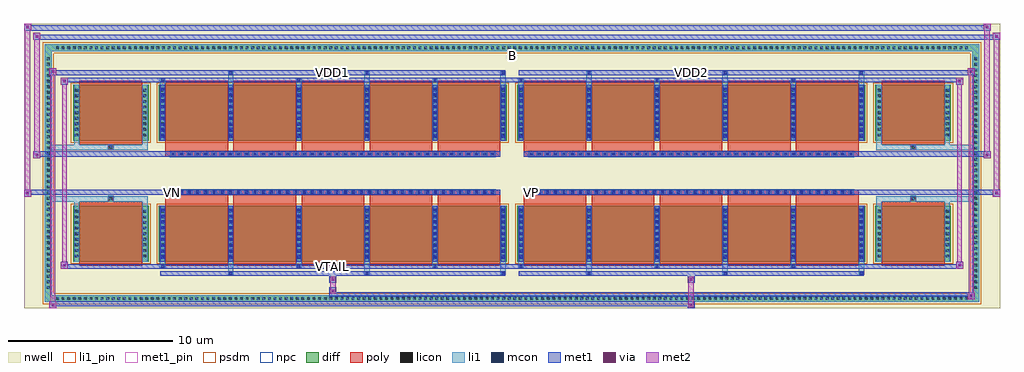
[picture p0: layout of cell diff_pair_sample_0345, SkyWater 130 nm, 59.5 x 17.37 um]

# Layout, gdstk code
import gdstk
lib = gdstk.Library(unit=1e-6, precision=5e-09)
def R(c, l, rs):  # rectangles x0, y0, x1, y1
    for r in rs: c.add(gdstk.rectangle(r[:2], r[2:], *l))
def A(c, l, x, y, w, h, nx, ny, dx, dy):  # array of equal rectangles
    R(c, l, [(x+i*dx, y+j*dy, x+i*dx+w, y+j*dy+h) for i in range(nx) for j in range(ny)])
def P(c, l, *ps):  # polygons
    for p in ps: c.add(gdstk.Polygon(p, *l))
nwell = (64, 20)
diff = (65, 20)
poly = (66, 20)
licon = (66, 44)
li1_pin = (67, 16)
li1 = (67, 20)
mcon = (67, 44)
met1_pin = (68, 16)
met1 = (68, 20)
via = (68, 44)
met2 = (69, 20)
psdm = (94, 20)
npc = (95, 20)

diff_pair_sample_0345 = lib.new_cell('diff_pair_sample_0345')
R(diff_pair_sample_0345, nwell, [(-29.75,-8.25,29.75,9.12), (-27.07,-6.44,-0.01,-0.8), (0.01,-6.44,27.07,-0.8), (-27.07,0.8,-0.01,6.44), (0.01,0.8,27.07,6.44)])
A(diff_pair_sample_0345, diff, -27.915, -7.85, 0.41, 0.41, 164, 2, 0.34, 15.29)
A(diff_pair_sample_0345, diff, -28.48, -7.175, 0.41, 0.41, 1, 42, 0, 0.34)
A(diff_pair_sample_0345, diff, 28.07, -7.175, 0.41, 0.41, 1, 42, 0, 0.34)
R(diff_pair_sample_0345, diff, [(-27.915,-7.85,27.915,-7.44), (-28.48,-7.175,-28.07,7.175), (28.07,-7.175,28.48,7.175), (-26.76,-5.395,-22.16,-1.985), (-21.52,-5.395,-0.32,-1.985), (0.32,-5.395,21.52,-1.985), (22.16,-5.395,26.76,-1.985), (-26.76,1.985,-22.16,5.395), (-21.52,1.985,-0.32,5.395), (0.32,1.985,21.52,5.395), (22.16,1.985,26.76,5.395), (-27.915,7.44,27.915,7.85)])
P(diff_pair_sample_0345, diff, [(28.48,7.85),(-28.48,7.85),(-28.48,-7.44),(-28.07,-7.44),(-28.07,7.44),(28.07,7.44),(28.07,-7.44),(-28.07,-7.44),(-28.48,-7.44),(-28.48,-7.85),(28.48,-7.85)])
A(diff_pair_sample_0345, poly, -21.13, -5.645, 3.82, 3.91, 5, 2, 4.15, 7.38)
A(diff_pair_sample_0345, poly, 0.71, -5.645, 3.82, 3.91, 5, 2, 4.15, 7.38)
A(diff_pair_sample_0345, poly, -21.13, -1.735, 3.82, 0.405, 5, 2, 4.15, 3.065)
A(diff_pair_sample_0345, poly, 0.71, -1.735, 3.82, 0.405, 5, 2, 4.15, 3.065)
A(diff_pair_sample_0345, poly, -20.835, -1.33, 0.33, 0.33, 40, 2, 0.5, 2.33)
A(diff_pair_sample_0345, poly, 1.005, -1.33, 0.33, 0.33, 40, 2, 0.5, 2.33)
R(diff_pair_sample_0345, poly, [(-26.37,-5.645,-22.55,-1.735), (22.55,-5.645,26.37,-1.735), (-24.625,-1.735,-24.295,-1.405), (-24.625,-1.735,-24.295,-1.405), (24.295,-1.735,24.625,-1.405), (24.295,-1.735,24.625,-1.405), (-21.13,-1.33,-0.71,-1), (0.71,-1.33,21.13,-1), (-21.13,1,-0.71,1.33), (0.71,1,21.13,1.33), (-24.625,1.405,-24.295,1.735), (-24.625,1.405,-24.295,1.735), (24.295,1.405,24.625,1.735), (24.295,1.405,24.625,1.735), (-26.37,1.735,-22.55,5.645), (22.55,1.735,26.37,5.645)])
A(diff_pair_sample_0345, licon, -27.795, -7.73, 0.17, 0.17, 164, 2, 0.34, 15.29)
A(diff_pair_sample_0345, licon, -28.36, -7.055, 0.17, 0.17, 1, 42, 0, 0.34)
A(diff_pair_sample_0345, licon, 28.19, -7.055, 0.17, 0.17, 1, 42, 0, 0.34)
A(diff_pair_sample_0345, licon, -26.62, -5.135, 0.17, 0.17, 1, 9, 0, 0.34)
A(diff_pair_sample_0345, licon, -22.47, -5.135, 0.17, 0.17, 1, 9, 0, 0.34)
A(diff_pair_sample_0345, licon, -21.38, -5.135, 0.17, 0.17, 6, 9, 4.15, 0.34)
A(diff_pair_sample_0345, licon, 0.46, -5.135, 0.17, 0.17, 6, 9, 4.15, 0.34)
A(diff_pair_sample_0345, licon, 22.3, -5.135, 0.17, 0.17, 1, 9, 0, 0.34)
A(diff_pair_sample_0345, licon, 26.45, -5.135, 0.17, 0.17, 1, 9, 0, 0.34)
A(diff_pair_sample_0345, licon, -20.755, -1.25, 0.17, 0.17, 40, 2, 0.5, 2.33)
A(diff_pair_sample_0345, licon, 1.085, -1.25, 0.17, 0.17, 40, 2, 0.5, 2.33)
A(diff_pair_sample_0345, licon, -26.62, 2.245, 0.17, 0.17, 1, 9, 0, 0.34)
A(diff_pair_sample_0345, licon, -22.47, 2.245, 0.17, 0.17, 1, 9, 0, 0.34)
A(diff_pair_sample_0345, licon, -21.38, 2.245, 0.17, 0.17, 6, 9, 4.15, 0.34)
A(diff_pair_sample_0345, licon, 0.46, 2.245, 0.17, 0.17, 6, 9, 4.15, 0.34)
A(diff_pair_sample_0345, licon, 22.3, 2.245, 0.17, 0.17, 1, 9, 0, 0.34)
A(diff_pair_sample_0345, licon, 26.45, 2.245, 0.17, 0.17, 1, 9, 0, 0.34)
R(diff_pair_sample_0345, licon, [(-24.545,-1.655,-24.375,-1.485), (24.375,-1.655,24.545,-1.485), (-24.545,1.485,-24.375,1.655), (24.375,1.485,24.545,1.655)])
R(diff_pair_sample_0345, li1_pin, [(-0.25,6.94,0.25,7.44)])
A(diff_pair_sample_0345, li1, -27.875, -7.81, 0.33, 0.33, 164, 2, 0.34, 15.29)
A(diff_pair_sample_0345, li1, -28.44, -7.135, 0.33, 0.33, 1, 42, 0, 0.34)
A(diff_pair_sample_0345, li1, 28.11, -7.135, 0.33, 0.33, 1, 42, 0, 0.34)
A(diff_pair_sample_0345, li1, -17.31, -6.2, 0.33, 0.805, 3, 2, 8.3, 11.595)
A(diff_pair_sample_0345, li1, -17.23, -6.2, 0.17, 0.17, 3, 2, 8.3, 12.23)
A(diff_pair_sample_0345, li1, 4.53, -6.2, 0.33, 0.805, 3, 2, 8.3, 11.595)
A(diff_pair_sample_0345, li1, 4.61, -6.2, 0.17, 0.17, 3, 2, 8.3, 12.23)
A(diff_pair_sample_0345, li1, -21.46, -5.77, 0.33, 0.375, 3, 2, 8.3, 11.165)
A(diff_pair_sample_0345, li1, -21.38, -5.77, 0.17, 0.17, 3, 2, 8.3, 11.37)
A(diff_pair_sample_0345, li1, 0.38, -5.77, 0.33, 0.375, 3, 2, 8.3, 11.165)
A(diff_pair_sample_0345, li1, 0.46, -5.77, 0.17, 0.17, 3, 2, 8.3, 11.37)
A(diff_pair_sample_0345, li1, -21.46, -5.395, 0.33, 3.41, 6, 2, 4.15, 7.38)
A(diff_pair_sample_0345, li1, 0.38, -5.395, 0.33, 3.41, 6, 2, 4.15, 7.38)
A(diff_pair_sample_0345, li1, -26.7, -5.215, 0.33, 0.33, 1, 9, 0, 0.34)
A(diff_pair_sample_0345, li1, -22.55, -5.215, 0.33, 0.33, 1, 9, 0, 0.34)
A(diff_pair_sample_0345, li1, -21.46, -5.215, 0.33, 0.33, 6, 9, 4.15, 0.34)
A(diff_pair_sample_0345, li1, -21.38, -5.215, 0.17, 0.17, 6, 9, 4.15, 0.36)
A(diff_pair_sample_0345, li1, -21.38, -5.215, 0.17, 3.05, 6, 2, 4.15, 7.38)
A(diff_pair_sample_0345, li1, 0.38, -5.215, 0.33, 0.33, 6, 9, 4.15, 0.34)
A(diff_pair_sample_0345, li1, 0.46, -5.215, 0.17, 0.17, 6, 9, 4.15, 0.36)
A(diff_pair_sample_0345, li1, 0.46, -5.215, 0.17, 3.05, 6, 2, 4.15, 7.38)
A(diff_pair_sample_0345, li1, 22.22, -5.215, 0.33, 0.33, 1, 9, 0, 0.34)
A(diff_pair_sample_0345, li1, 26.37, -5.215, 0.33, 0.33, 1, 9, 0, 0.34)
A(diff_pair_sample_0345, li1, -20.835, -1.33, 0.33, 0.33, 40, 2, 0.5, 2.33)
A(diff_pair_sample_0345, li1, 1.005, -1.33, 0.33, 0.33, 40, 2, 0.5, 2.33)
A(diff_pair_sample_0345, li1, -26.7, 2.165, 0.33, 0.33, 1, 9, 0, 0.34)
A(diff_pair_sample_0345, li1, -22.55, 2.165, 0.33, 0.33, 1, 9, 0, 0.34)
A(diff_pair_sample_0345, li1, -21.46, 2.165, 0.33, 0.33, 6, 9, 4.15, 0.34)
A(diff_pair_sample_0345, li1, -21.38, 2.165, 0.17, 0.17, 6, 9, 4.15, 0.36)
A(diff_pair_sample_0345, li1, 0.38, 2.165, 0.33, 0.33, 6, 9, 4.15, 0.34)
A(diff_pair_sample_0345, li1, 0.46, 2.165, 0.17, 0.17, 6, 9, 4.15, 0.36)
A(diff_pair_sample_0345, li1, 22.22, 2.165, 0.33, 0.33, 1, 9, 0, 0.34)
A(diff_pair_sample_0345, li1, 26.37, 2.165, 0.33, 0.33, 1, 9, 0, 0.34)
R(diff_pair_sample_0345, li1, [(-28.48,-7.85,-28.07,-7.44), (-28.48,-7.85,-28.07,-7.44), (-28.07,-7.85,28.07,-7.44), (28.07,-7.85,28.48,-7.44), (28.07,-7.85,28.48,-7.44), (-28.48,-7.44,-28.07,7.44), (28.07,-7.44,28.48,7.44), (-26.7,-5.395,-26.37,-1.985), (-22.55,-5.395,-22.22,-1.985), (22.22,-5.395,22.55,-1.985), (26.37,-5.395,26.7,-1.985), (-26.7,-1.985,-26.37,-1.405), (-22.55,-1.985,-22.22,-1.405), (22.22,-1.985,22.55,-1.405), (26.37,-1.985,26.7,-1.405), (-28.48,-1.735,-24.625,-1.405), (-26.7,-1.735,-24.625,-1.405), (-24.625,-1.735,-24.295,-1.405), (-24.295,-1.735,-22.22,-1.405), (22.22,-1.735,24.295,-1.405), (24.295,-1.735,24.625,-1.405), (24.295,-1.735,28.48,-1.405), (24.625,-1.735,26.7,-1.405), (-28.48,1.405,-24.625,1.735), (-26.7,1.405,-24.625,1.735), (-26.7,1.405,-26.37,1.985), (-24.625,1.405,-24.295,1.735), (-24.295,1.405,-22.22,1.735), (-22.55,1.405,-22.22,1.985), (22.22,1.405,24.295,1.735), (22.22,1.405,22.55,1.985), (24.295,1.405,24.625,1.735), (24.295,1.405,28.48,1.735), (24.625,1.405,26.7,1.735), (26.37,1.405,26.7,1.985), (-26.7,1.985,-26.37,5.395), (-22.55,1.985,-22.22,5.395), (22.22,1.985,22.55,5.395), (26.37,1.985,26.7,5.395), (-28.48,7.44,-28.07,7.85), (-28.48,7.44,-28.07,7.85), (-28.07,7.44,28.07,7.85), (28.07,7.44,28.48,7.85), (28.07,7.44,28.48,7.85)])
A(diff_pair_sample_0345, mcon, -17.23, -6.2, 0.17, 0.17, 3, 2, 8.3, 12.23)
A(diff_pair_sample_0345, mcon, 4.61, -6.2, 0.17, 0.17, 3, 2, 8.3, 12.23)
A(diff_pair_sample_0345, mcon, -21.38, -5.77, 0.17, 0.17, 3, 2, 8.3, 11.37)
A(diff_pair_sample_0345, mcon, 0.46, -5.77, 0.17, 0.17, 3, 2, 8.3, 11.37)
A(diff_pair_sample_0345, mcon, -21.38, -5.215, 0.17, 0.17, 6, 9, 4.15, 0.36)
A(diff_pair_sample_0345, mcon, 0.46, -5.215, 0.17, 0.17, 6, 9, 4.15, 0.36)
A(diff_pair_sample_0345, mcon, -20.755, -1.25, 0.17, 0.17, 40, 2, 0.5, 2.33)
A(diff_pair_sample_0345, mcon, 1.085, -1.25, 0.17, 0.17, 40, 2, 0.5, 2.33)
A(diff_pair_sample_0345, mcon, -21.38, 2.165, 0.17, 0.17, 6, 9, 4.15, 0.36)
A(diff_pair_sample_0345, mcon, 0.46, 2.165, 0.17, 0.17, 6, 9, 4.15, 0.36)
R(diff_pair_sample_0345, met1_pin, [(-11.055,-5.81,-10.785,-5.54), (-20.805,-1.29,-20.535,-1.02), (1.035,-1.29,1.305,-1.02), (-11.055,5.99,-10.785,6.26), (10.785,5.99,11.055,6.26)])
A(diff_pair_sample_0345, met1, -17.29, -6.26, 0.29, 0.29, 3, 2, 8.3, 12.23)
A(diff_pair_sample_0345, met1, 4.55, -6.26, 0.29, 0.29, 3, 2, 8.3, 12.23)
A(diff_pair_sample_0345, met1, -21.44, -5.83, 0.29, 0.29, 3, 2, 8.3, 11.37)
A(diff_pair_sample_0345, met1, 0.4, -5.83, 0.29, 0.29, 3, 2, 8.3, 11.37)
A(diff_pair_sample_0345, met1, -21.44, -5.395, 0.29, 3.41, 6, 2, 4.15, 7.38)
A(diff_pair_sample_0345, met1, 0.4, -5.395, 0.29, 3.41, 6, 2, 4.15, 7.38)
A(diff_pair_sample_0345, met1, -21.44, -5.275, 0.29, 0.29, 6, 9, 4.15, 0.36)
A(diff_pair_sample_0345, met1, 0.4, -5.275, 0.29, 0.29, 6, 9, 4.15, 0.36)
A(diff_pair_sample_0345, met1, -20.815, -1.31, 0.29, 0.29, 40, 2, 0.5, 2.33)
A(diff_pair_sample_0345, met1, 1.025, -1.31, 0.29, 0.29, 40, 2, 0.5, 2.33)
A(diff_pair_sample_0345, met1, -21.44, 2.105, 0.29, 0.29, 6, 9, 4.15, 0.36)
A(diff_pair_sample_0345, met1, 0.4, 2.105, 0.29, 0.29, 6, 9, 4.15, 0.36)
R(diff_pair_sample_0345, met1, [(-28.21,-8.25,-27.78,-7.82), (10.705,-8.25,11.135,-7.82), (-28.21,-8.11,11.135,-7.82), (27.78,-7.68,28.21,-7.25), (-11.135,-7.54,28.21,-7.25), (-11.135,-7.4,-10.705,-6.97), (-11.135,-6.69,-10.705,-6.26), (10.705,-6.69,11.135,-6.26), (-21.44,-6.26,-0.4,-5.97), (0.4,-6.26,21.44,-5.97), (-27.5,-5.83,-27.07,-5.4), (-27.5,-5.83,-21.44,-5.54), (-21.44,-5.83,-0.4,-5.54), (-0.4,-5.83,0.4,-5.54), (0.4,-5.83,21.44,-5.54), (21.44,-5.83,27.5,-5.54), (27.07,-5.83,27.5,-5.4), (-29.75,-1.43,-29.32,-1), (29.32,-1.43,29.75,-1), (-29.75,-1.33,-0.71,-1), (-21.13,-1.33,-0.71,-1), (0.71,-1.33,21.13,-1), (0.71,-1.33,29.75,-1), (-29.18,0.9,-28.75,1.33), (28.75,0.9,29.18,1.33), (-29.18,1,-21.13,1.33), (-21.13,1,-0.71,1.33), (0.71,1,21.13,1.33), (21.13,1,29.18,1.33), (-27.5,5.4,-27.07,5.83), (27.07,5.4,27.5,5.83), (-27.5,5.54,-21.44,5.83), (-21.44,5.54,-0.4,5.83), (-0.4,5.54,0.4,5.83), (0.4,5.54,21.44,5.83), (21.44,5.54,27.5,5.83), (-28.21,5.97,-27.78,6.4), (-28.21,5.97,-21.44,6.26), (-21.44,5.97,-0.4,6.26), (0.4,5.97,21.44,6.26), (21.44,5.97,28.21,6.26), (27.78,5.97,28.21,6.4), (-29.18,8.12,-28.75,8.55), (-29.18,8.12,-27.07,8.45), (-27.07,8.12,27.07,8.45), (27.07,8.12,29.75,8.45), (29.32,8.12,29.75,8.55), (-29.75,8.69,-29.32,9.12), (-29.75,8.69,-27.07,9.02), (-27.07,8.69,27.07,9.02), (27.07,8.69,29.18,9.02), (28.75,8.69,29.18,9.12)])
R(diff_pair_sample_0345, via, [(-28.07,-8.11,-27.92,-7.96), (10.845,-8.11,10.995,-7.96), (27.92,-7.54,28.07,-7.39), (-10.995,-7.26,-10.845,-7.11), (-10.995,-6.55,-10.845,-6.4), (10.845,-6.55,10.995,-6.4), (-27.36,-5.69,-27.21,-5.54), (27.21,-5.69,27.36,-5.54), (-29.61,-1.29,-29.46,-1.14), (29.46,-1.29,29.61,-1.14), (-29.04,1.04,-28.89,1.19), (28.89,1.04,29.04,1.19), (-27.36,5.54,-27.21,5.69), (27.21,5.54,27.36,5.69), (-28.07,6.11,-27.92,6.26), (27.92,6.11,28.07,6.26), (-29.04,8.26,-28.89,8.41), (29.46,8.26,29.61,8.41), (-29.61,8.83,-29.46,8.98), (28.89,8.83,29.04,8.98)])
R(diff_pair_sample_0345, met2, [(-28.21,-8.25,-27.78,-7.82), (-28.14,-8.25,-27.85,6.4), (-27.85,-8.25,-27.78,-7.82), (-28.16,-8.2,-27.83,-7.87), (10.755,-8.2,11.085,-7.87), (10.755,-7.87,11.085,-6.64), (27.78,-7.68,28.21,-7.25), (27.85,-7.68,28.14,6.4), (28.14,-7.68,28.21,-7.25), (27.83,-7.63,28.16,-7.3), (-11.085,-7.35,-10.755,-7.02), (-11.085,-7.02,-10.755,-6.64), (-11.085,-6.64,-10.755,-6.31), (10.755,-6.64,11.085,-6.31), (-27.5,-5.83,-27.07,-5.4), (-27.43,-5.83,-27.14,5.83), (-27.14,-5.83,-27.07,-5.4), (27.07,-5.83,27.5,-5.4), (27.14,-5.83,27.43,5.83), (27.43,-5.83,27.5,-5.4), (-27.45,-5.78,-27.12,-5.45), (27.12,-5.78,27.45,-5.45), (-29.75,-1.43,-29.32,-1), (-29.7,-1.43,-29.37,9.12), (-29.37,-1.43,-29.32,-1), (29.32,-1.43,29.75,-1), (29.37,-1.43,29.7,8.55), (29.7,-1.43,29.75,-1), (-29.7,-1.38,-29.37,-1.05), (29.37,-1.38,29.7,-1.05), (-29.18,0.9,-28.75,1.33), (-29.13,0.9,-28.8,8.55), (-28.8,0.9,-28.75,1.33), (28.75,0.9,29.18,1.33), (28.8,0.9,29.13,9.12), (29.13,0.9,29.18,1.33), (-29.13,0.95,-28.8,1.28), (28.8,0.95,29.13,1.28), (-27.5,5.4,-27.07,5.83), (-27.14,5.4,-27.07,5.83), (27.07,5.4,27.5,5.83), (27.43,5.4,27.5,5.83), (-27.45,5.45,-27.12,5.78), (27.12,5.45,27.45,5.78), (-28.21,5.97,-27.78,6.4), (-27.85,5.97,-27.78,6.4), (27.78,5.97,28.21,6.4), (28.14,5.97,28.21,6.4), (-28.16,6.02,-27.83,6.35), (27.83,6.02,28.16,6.35), (-29.18,8.12,-28.75,8.55), (-28.8,8.12,-28.75,8.55), (29.32,8.12,29.75,8.55), (29.7,8.12,29.75,8.55), (-29.13,8.17,-28.8,8.5), (29.37,8.17,29.7,8.5), (-29.75,8.69,-29.32,9.12), (-29.37,8.69,-29.32,9.12), (28.75,8.69,29.18,9.12), (29.13,8.69,29.18,9.12), (-29.7,8.74,-29.37,9.07), (28.8,8.74,29.13,9.07)])
R(diff_pair_sample_0345, psdm, [(-26.89,-5.525,-22.03,-1.855), (-21.65,-5.525,-0.19,-1.855), (0.19,-5.525,21.65,-1.855), (22.03,-5.525,26.89,-1.855), (-26.89,1.855,-22.03,5.525), (-21.65,1.855,-0.19,5.525), (0.19,1.855,21.65,5.525), (22.03,1.855,26.89,5.525)])
P(diff_pair_sample_0345, psdm, [(28.61,7.98),(-28.61,7.98),(-28.61,-7.31),(-27.94,-7.31),(-27.94,7.31),(27.94,7.31),(27.94,-7.31),(-27.94,-7.31),(-28.61,-7.31),(-28.61,-7.98),(28.61,-7.98)])
A(diff_pair_sample_0345, npc, -20.855, -1.35, 0.37, 0.37, 40, 2, 0.5, 2.33)
A(diff_pair_sample_0345, npc, 0.985, -1.35, 0.37, 0.37, 40, 2, 0.5, 2.33)
R(diff_pair_sample_0345, npc, [(-24.645,-1.755,-24.275,-1.385), (24.275,-1.755,24.645,-1.385), (-20.855,-1.35,-19.985,-0.98), (-20.855,-1.35,-19.985,-0.98), (-20.355,-1.35,-19.485,-0.98), (-20.355,-1.35,-19.485,-0.98), (-19.855,-1.35,-18.985,-0.98), (-19.855,-1.35,-18.985,-0.98), (-19.355,-1.35,-18.485,-0.98), (-19.355,-1.35,-18.485,-0.98), (-18.855,-1.35,-17.985,-0.98), (-18.855,-1.35,-17.985,-0.98), (-18.355,-1.35,-17.485,-0.98), (-18.355,-1.35,-17.485,-0.98), (-17.855,-1.35,-16.985,-0.98), (-17.855,-1.35,-16.985,-0.98), (-17.355,-1.35,-16.485,-0.98), (-17.355,-1.35,-16.485,-0.98), (-16.855,-1.35,-15.985,-0.98), (-16.855,-1.35,-15.985,-0.98), (-16.355,-1.35,-15.485,-0.98), (-16.355,-1.35,-15.485,-0.98), (-15.855,-1.35,-14.985,-0.98), (-15.855,-1.35,-14.985,-0.98), (-15.355,-1.35,-14.485,-0.98), (-15.355,-1.35,-14.485,-0.98), (-14.855,-1.35,-13.985,-0.98), (-14.855,-1.35,-13.985,-0.98), (-14.355,-1.35,-13.485,-0.98), (-14.355,-1.35,-13.485,-0.98), (-13.855,-1.35,-12.985,-0.98), (-13.855,-1.35,-12.985,-0.98), (-13.355,-1.35,-12.485,-0.98), (-13.355,-1.35,-12.485,-0.98), (-12.855,-1.35,-11.985,-0.98), (-12.855,-1.35,-11.985,-0.98), (-12.355,-1.35,-11.485,-0.98), (-12.355,-1.35,-11.485,-0.98), (-11.855,-1.35,-10.985,-0.98), (-11.855,-1.35,-10.985,-0.98), (-11.355,-1.35,-10.485,-0.98), (-11.355,-1.35,-10.485,-0.98), (-10.855,-1.35,-9.985,-0.98), (-10.855,-1.35,-9.985,-0.98), (-10.355,-1.35,-9.485,-0.98), (-10.355,-1.35,-9.485,-0.98), (-9.855,-1.35,-8.985,-0.98), (-9.855,-1.35,-8.985,-0.98), (-9.355,-1.35,-8.485,-0.98), (-9.355,-1.35,-8.485,-0.98), (-8.855,-1.35,-7.985,-0.98), (-8.855,-1.35,-7.985,-0.98), (-8.355,-1.35,-7.485,-0.98), (-8.355,-1.35,-7.485,-0.98), (-7.855,-1.35,-6.985,-0.98), (-7.855,-1.35,-6.985,-0.98), (-7.355,-1.35,-6.485,-0.98), (-7.355,-1.35,-6.485,-0.98), (-6.855,-1.35,-5.985,-0.98), (-6.855,-1.35,-5.985,-0.98), (-6.355,-1.35,-5.485,-0.98), (-6.355,-1.35,-5.485,-0.98), (-5.855,-1.35,-4.985,-0.98), (-5.855,-1.35,-4.985,-0.98), (-5.355,-1.35,-4.485,-0.98), (-5.355,-1.35,-4.485,-0.98), (-4.855,-1.35,-3.985,-0.98), (-4.855,-1.35,-3.985,-0.98), (-4.355,-1.35,-3.485,-0.98), (-4.355,-1.35,-3.485,-0.98), (-3.855,-1.35,-2.985,-0.98), (-3.855,-1.35,-2.985,-0.98), (-3.355,-1.35,-2.485,-0.98), (-3.355,-1.35,-2.485,-0.98), (-2.855,-1.35,-1.985,-0.98), (-2.855,-1.35,-1.985,-0.98), (-2.355,-1.35,-1.485,-0.98), (-2.355,-1.35,-1.485,-0.98), (-1.855,-1.35,-0.985,-0.98), (-1.855,-1.35,-0.985,-0.98), (0.985,-1.35,1.855,-0.98), (0.985,-1.35,1.855,-0.98), (1.485,-1.35,2.355,-0.98), (1.485,-1.35,2.355,-0.98), (1.985,-1.35,2.855,-0.98), (1.985,-1.35,2.855,-0.98), (2.485,-1.35,3.355,-0.98), (2.485,-1.35,3.355,-0.98), (2.985,-1.35,3.855,-0.98), (2.985,-1.35,3.855,-0.98), (3.485,-1.35,4.355,-0.98), (3.485,-1.35,4.355,-0.98), (3.985,-1.35,4.855,-0.98), (3.985,-1.35,4.855,-0.98), (4.485,-1.35,5.355,-0.98), (4.485,-1.35,5.355,-0.98), (4.985,-1.35,5.855,-0.98), (4.985,-1.35,5.855,-0.98), (5.485,-1.35,6.355,-0.98), (5.485,-1.35,6.355,-0.98), (5.985,-1.35,6.855,-0.98), (5.985,-1.35,6.855,-0.98), (6.485,-1.35,7.355,-0.98), (6.485,-1.35,7.355,-0.98), (6.985,-1.35,7.855,-0.98), (6.985,-1.35,7.855,-0.98), (7.485,-1.35,8.355,-0.98), (7.485,-1.35,8.355,-0.98), (7.985,-1.35,8.855,-0.98), (7.985,-1.35,8.855,-0.98), (8.485,-1.35,9.355,-0.98), (8.485,-1.35,9.355,-0.98), (8.985,-1.35,9.855,-0.98), (8.985,-1.35,9.855,-0.98), (9.485,-1.35,10.355,-0.98), (9.485,-1.35,10.355,-0.98), (9.985,-1.35,10.855,-0.98), (9.985,-1.35,10.855,-0.98), (10.485,-1.35,11.355,-0.98), (10.485,-1.35,11.355,-0.98), (10.985,-1.35,11.855,-0.98), (10.985,-1.35,11.855,-0.98), (11.485,-1.35,12.355,-0.98), (11.485,-1.35,12.355,-0.98), (11.985,-1.35,12.855,-0.98), (11.985,-1.35,12.855,-0.98), (12.485,-1.35,13.355,-0.98), (12.485,-1.35,13.355,-0.98), (12.985,-1.35,13.855,-0.98), (12.985,-1.35,13.855,-0.98), (13.485,-1.35,14.355,-0.98), (13.485,-1.35,14.355,-0.98), (13.985,-1.35,14.855,-0.98), (13.985,-1.35,14.855,-0.98), (14.485,-1.35,15.355,-0.98), (14.485,-1.35,15.355,-0.98), (14.985,-1.35,15.855,-0.98), (14.985,-1.35,15.855,-0.98), (15.485,-1.35,16.355,-0.98), (15.485,-1.35,16.355,-0.98), (15.985,-1.35,16.855,-0.98), (15.985,-1.35,16.855,-0.98), (16.485,-1.35,17.355,-0.98), (16.485,-1.35,17.355,-0.98), (16.985,-1.35,17.855,-0.98), (16.985,-1.35,17.855,-0.98), (17.485,-1.35,18.355,-0.98), (17.485,-1.35,18.355,-0.98), (17.985,-1.35,18.855,-0.98), (17.985,-1.35,18.855,-0.98), (18.485,-1.35,19.355,-0.98), (18.485,-1.35,19.355,-0.98), (18.985,-1.35,19.855,-0.98), (18.985,-1.35,19.855,-0.98), (19.485,-1.35,20.355,-0.98), (19.485,-1.35,20.355,-0.98), (19.985,-1.35,20.855,-0.98), (19.985,-1.35,20.855,-0.98), (-20.855,0.98,-19.985,1.35), (-20.855,0.98,-19.985,1.35), (-20.355,0.98,-19.485,1.35), (-20.355,0.98,-19.485,1.35), (-19.855,0.98,-18.985,1.35), (-19.855,0.98,-18.985,1.35), (-19.355,0.98,-18.485,1.35), (-19.355,0.98,-18.485,1.35), (-18.855,0.98,-17.985,1.35), (-18.855,0.98,-17.985,1.35), (-18.355,0.98,-17.485,1.35), (-18.355,0.98,-17.485,1.35), (-17.855,0.98,-16.985,1.35), (-17.855,0.98,-16.985,1.35), (-17.355,0.98,-16.485,1.35), (-17.355,0.98,-16.485,1.35), (-16.855,0.98,-15.985,1.35), (-16.855,0.98,-15.985,1.35), (-16.355,0.98,-15.485,1.35), (-16.355,0.98,-15.485,1.35), (-15.855,0.98,-14.985,1.35), (-15.855,0.98,-14.985,1.35), (-15.355,0.98,-14.485,1.35), (-15.355,0.98,-14.485,1.35), (-14.855,0.98,-13.985,1.35), (-14.855,0.98,-13.985,1.35), (-14.355,0.98,-13.485,1.35), (-14.355,0.98,-13.485,1.35), (-13.855,0.98,-12.985,1.35), (-13.855,0.98,-12.985,1.35), (-13.355,0.98,-12.485,1.35), (-13.355,0.98,-12.485,1.35), (-12.855,0.98,-11.985,1.35), (-12.855,0.98,-11.985,1.35), (-12.355,0.98,-11.485,1.35), (-12.355,0.98,-11.485,1.35), (-11.855,0.98,-10.985,1.35), (-11.855,0.98,-10.985,1.35), (-11.355,0.98,-10.485,1.35), (-11.355,0.98,-10.485,1.35), (-10.855,0.98,-9.985,1.35), (-10.855,0.98,-9.985,1.35), (-10.355,0.98,-9.485,1.35), (-10.355,0.98,-9.485,1.35), (-9.855,0.98,-8.985,1.35), (-9.855,0.98,-8.985,1.35), (-9.355,0.98,-8.485,1.35), (-9.355,0.98,-8.485,1.35), (-8.855,0.98,-7.985,1.35), (-8.855,0.98,-7.985,1.35), (-8.355,0.98,-7.485,1.35), (-8.355,0.98,-7.485,1.35), (-7.855,0.98,-6.985,1.35), (-7.855,0.98,-6.985,1.35), (-7.355,0.98,-6.485,1.35), (-7.355,0.98,-6.485,1.35), (-6.855,0.98,-5.985,1.35), (-6.855,0.98,-5.985,1.35), (-6.355,0.98,-5.485,1.35), (-6.355,0.98,-5.485,1.35), (-5.855,0.98,-4.985,1.35), (-5.855,0.98,-4.985,1.35), (-5.355,0.98,-4.485,1.35), (-5.355,0.98,-4.485,1.35), (-4.855,0.98,-3.985,1.35), (-4.855,0.98,-3.985,1.35), (-4.355,0.98,-3.485,1.35), (-4.355,0.98,-3.485,1.35), (-3.855,0.98,-2.985,1.35), (-3.855,0.98,-2.985,1.35), (-3.355,0.98,-2.485,1.35), (-3.355,0.98,-2.485,1.35), (-2.855,0.98,-1.985,1.35), (-2.855,0.98,-1.985,1.35), (-2.355,0.98,-1.485,1.35), (-2.355,0.98,-1.485,1.35), (-1.855,0.98,-0.985,1.35), (-1.855,0.98,-0.985,1.35), (0.985,0.98,1.855,1.35), (0.985,0.98,1.855,1.35), (1.485,0.98,2.355,1.35), (1.485,0.98,2.355,1.35), (1.985,0.98,2.855,1.35), (1.985,0.98,2.855,1.35), (2.485,0.98,3.355,1.35), (2.485,0.98,3.355,1.35), (2.985,0.98,3.855,1.35), (2.985,0.98,3.855,1.35), (3.485,0.98,4.355,1.35), (3.485,0.98,4.355,1.35), (3.985,0.98,4.855,1.35), (3.985,0.98,4.855,1.35), (4.485,0.98,5.355,1.35), (4.485,0.98,5.355,1.35), (4.985,0.98,5.855,1.35), (4.985,0.98,5.855,1.35), (5.485,0.98,6.355,1.35), (5.485,0.98,6.355,1.35), (5.985,0.98,6.855,1.35), (5.985,0.98,6.855,1.35), (6.485,0.98,7.355,1.35), (6.485,0.98,7.355,1.35), (6.985,0.98,7.855,1.35), (6.985,0.98,7.855,1.35), (7.485,0.98,8.355,1.35), (7.485,0.98,8.355,1.35), (7.985,0.98,8.855,1.35), (7.985,0.98,8.855,1.35), (8.485,0.98,9.355,1.35), (8.485,0.98,9.355,1.35), (8.985,0.98,9.855,1.35), (8.985,0.98,9.855,1.35), (9.485,0.98,10.355,1.35), (9.485,0.98,10.355,1.35), (9.985,0.98,10.855,1.35), (9.985,0.98,10.855,1.35), (10.485,0.98,11.355,1.35), (10.485,0.98,11.355,1.35), (10.985,0.98,11.855,1.35), (10.985,0.98,11.855,1.35), (11.485,0.98,12.355,1.35), (11.485,0.98,12.355,1.35), (11.985,0.98,12.855,1.35), (11.985,0.98,12.855,1.35), (12.485,0.98,13.355,1.35), (12.485,0.98,13.355,1.35), (12.985,0.98,13.855,1.35), (12.985,0.98,13.855,1.35), (13.485,0.98,14.355,1.35), (13.485,0.98,14.355,1.35), (13.985,0.98,14.855,1.35), (13.985,0.98,14.855,1.35), (14.485,0.98,15.355,1.35), (14.485,0.98,15.355,1.35), (14.985,0.98,15.855,1.35), (14.985,0.98,15.855,1.35), (15.485,0.98,16.355,1.35), (15.485,0.98,16.355,1.35), (15.985,0.98,16.855,1.35), (15.985,0.98,16.855,1.35), (16.485,0.98,17.355,1.35), (16.485,0.98,17.355,1.35), (16.985,0.98,17.855,1.35), (16.985,0.98,17.855,1.35), (17.485,0.98,18.355,1.35), (17.485,0.98,18.355,1.35), (17.985,0.98,18.855,1.35), (17.985,0.98,18.855,1.35), (18.485,0.98,19.355,1.35), (18.485,0.98,19.355,1.35), (18.985,0.98,19.855,1.35), (18.985,0.98,19.855,1.35), (19.485,0.98,20.355,1.35), (19.485,0.98,20.355,1.35), (19.985,0.98,20.855,1.35), (19.985,0.98,20.855,1.35), (-24.645,1.385,-24.275,1.755), (24.275,1.385,24.645,1.755)])
diff_pair_sample_0345.add(gdstk.Label('VTAIL', (-10.92,-5.675), layer=68, texttype=5))
diff_pair_sample_0345.add(gdstk.Label('VN', (-20.67,-1.155), layer=68, texttype=5))
diff_pair_sample_0345.add(gdstk.Label('VP', (1.17,-1.155), layer=68, texttype=5))
diff_pair_sample_0345.add(gdstk.Label('B', (0,7.19), layer=67, texttype=5))
diff_pair_sample_0345.add(gdstk.Label('VDD2', (10.92,6.125), layer=68, texttype=5))
diff_pair_sample_0345.add(gdstk.Label('VDD1', (-10.92,6.125), layer=68, texttype=5))

lib.write_gds('diff_pair_sample_0345.gds')
